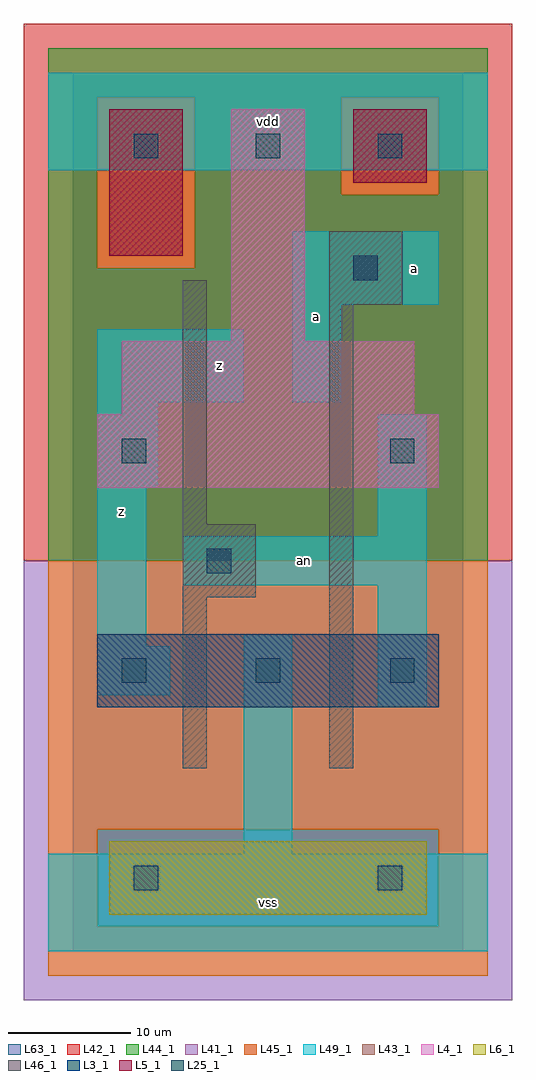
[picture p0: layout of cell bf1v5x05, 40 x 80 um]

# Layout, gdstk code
import gdstk
lib = gdstk.Library(unit=1e-6, precision=1e-09)
def R(c, l, rs):  # rectangles x0, y0, x1, y1
    for r in rs: c.add(gdstk.rectangle(r[:2], r[2:], *l))
def A(c, l, x, y, w, h, nx, ny, dx, dy):  # array of equal rectangles
    R(c, l, [(x+i*dx, y+j*dy, x+i*dx+w, y+j*dy+h) for i in range(nx) for j in range(ny)])
L3_1 = (3, 1)
L4_1 = (4, 1)
L5_1 = (5, 1)
L6_1 = (6, 1)
L25_1 = (25, 1)
L41_1 = (41, 1)
L42_1 = (42, 1)
L43_1 = (43, 1)
L44_1 = (44, 1)
L45_1 = (45, 1)
L46_1 = (46, 1)
L49_1 = (49, 1)
L63_1 = (63, 1)

bf1v5x05 = lib.new_cell('bf1v5x05')
R(bf1v5x05, L3_1, [(2,20,30,26)])
R(bf1v5x05, L4_1, [(2,38,30,44), (4,44,28,50), (13,50,19,69)])
R(bf1v5x05, L5_1, [(3,57,9,69), (23,63,29,69)])
R(bf1v5x05, L6_1, [(3,3,29,9), (3,3,29,9)])
A(bf1v5x05, L25_1, 4, 22, 2, 2, 3, 1, 11, 0)
A(bf1v5x05, L25_1, 5, 65, 2, 2, 3, 1, 10, 0)
R(bf1v5x05, L25_1, [(5,5,7,7), (25,5,27,7), (11,31,13,33), (4,40,6,42), (26,40,28,42), (23,55,25,57)])
R(bf1v5x05, L41_1, [(-4,-4,36,32)])
R(bf1v5x05, L42_1, [(-4,32,36,76)])
R(bf1v5x05, L43_1, [(3,3,29,9), (2,20,30,26), (2,38,30,44), (4,44,28,50), (13,50,19,69), (3,57,9,69), (23,63,29,69)])
R(bf1v5x05, L44_1, [(2,2,30,10), (-2,32,34,56), (-2,56,2,70), (10,56,34,62), (10,62,22,70), (30,62,34,70), (-2,70,34,74)])
R(bf1v5x05, L45_1, [(-2,-2,34,2), (-2,2,2,10), (30,2,34,10), (-2,10,34,32), (2,56,10,70), (22,62,30,70)])
R(bf1v5x05, L46_1, [(9,15,11,29), (21,15,23,53), (9,29,15,35), (9,35,11,55), (21,53,27,59)])
R(bf1v5x05, L49_1, [(-2,0,34,8), (14,8,18,26), (25,20,29,30), (2,21,8,25), (2,25,6,38), (9,30,29,34), (25,34,29,44), (2,38,7,45), (2,45,14,51), (18,45,22,53), (18,53,30,59), (-2,64,34,72)])
R(bf1v5x05, L63_1, [(0,0,32,72)])
bf1v5x05.add(gdstk.Label('z', (4,36), layer=49, texttype=1))
bf1v5x05.add(gdstk.Label('z', (12,48), layer=49, texttype=1))
bf1v5x05.add(gdstk.Label('vss', (16,4), layer=49, texttype=1))
bf1v5x05.add(gdstk.Label('a', (20,52), layer=49, texttype=1))
bf1v5x05.add(gdstk.Label('vdd', (16,68), layer=49, texttype=1))
bf1v5x05.add(gdstk.Label('an', (19,32), layer=49, texttype=1))
bf1v5x05.add(gdstk.Label('a', (28,56), layer=49, texttype=1))

lib.write_gds('bf1v5x05.gds')
